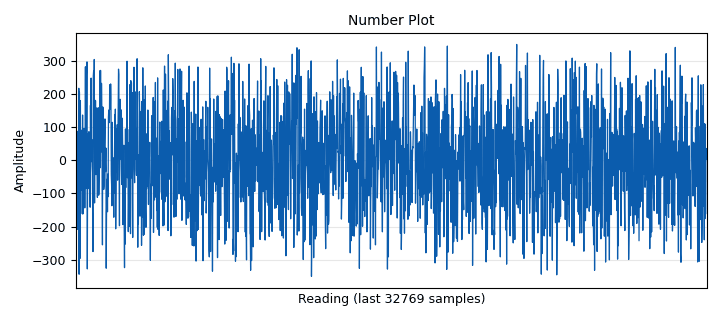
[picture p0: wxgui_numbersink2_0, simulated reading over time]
<?xml version='1.0' encoding='utf-8'?>
<flow_graph>
<block>
<key>options</key>
<param><key>id</key><value>top_block</value></param>
<param><key>generate_options</key><value>wx_gui</value></param>
<param><key>category</key><value>Custom</value></param>
</block>
<block>
<key>variable</key>
<param><key>id</key><value>samp_rate</value></param>
<param><key>value</key><value>32000</value></param>
</block>
<block>
<key>blocks_complex_to_arg</key>
<param><key>id</key><value>blocks_complex_to_arg_0</value></param>
</block>
<block>
<key>gr_fft_vxx</key>
<param><key>id</key><value>gr_fft_vxx_0</value></param>
<param><key>type</key><value>float</value></param>
<param><key>fft_size</key><value>1024</value></param>
<param><key>forward</key><value>True</value></param>
<param><key>window</key><value>window.blackmanharris(1024)</value></param>
<param><key>shift</key><value>True</value></param>
<param><key>nthreads</key><value>1</value></param>
</block>
<block>
<key>blocks_keep_one_in_n</key>
<param><key>id</key><value>blocks_keep_one_in_n_1</value></param>
<param><key>type</key><value>complex</value></param>
<param><key>n</key><value>fft_size</value></param>
</block>
<block>
<key>blocks_skiphead</key>
<param><key>id</key><value>blocks_skiphead_0_0</value></param>
<param><key>type</key><value>complex</value></param>
<param><key>num_items</key><value>fft_bin</value></param>
</block>
<block>
<key>blocks_vector_to_stream</key>
<param><key>id</key><value>blocks_vector_to_stream_0</value></param>
<param><key>type</key><value>complex</value></param>
<param><key>num_items</key><value>fft_size</value></param>
</block>
<block>
<key>gr_fft_vxx</key>
<param><key>id</key><value>gr_fft_vxx_0_0</value></param>
<param><key>type</key><value>float</value></param>
<param><key>fft_size</key><value>1024</value></param>
<param><key>forward</key><value>True</value></param>
<param><key>window</key><value>window.blackmanharris(1024)</value></param>
<param><key>shift</key><value>True</value></param>
<param><key>nthreads</key><value>1</value></param>
</block>
<block>
<key>blocks_skiphead</key>
<param><key>id</key><value>blocks_skiphead_0_0_0</value></param>
<param><key>type</key><value>complex</value></param>
<param><key>num_items</key><value>fft_bin</value></param>
</block>
<block>
<key>blocks_keep_one_in_n</key>
<param><key>id</key><value>blocks_keep_one_in_n_0</value></param>
<param><key>type</key><value>complex</value></param>
<param><key>n</key><value>fft_size</value></param>
</block>
<block>
<key>analog_sig_source_x</key>
<param><key>id</key><value>analog_sig_source_x_0</value></param>
<param><key>type</key><value>complex</value></param>
<param><key>samp_rate</key><value>samp_rate</value></param>
<param><key>waveform</key><value>analog.GR_COS_WAVE</value></param>
<param><key>freq</key><value>1000</value></param>
<param><key>amp</key><value>1</value></param>
<param><key>offset</key><value>0</value></param>
</block>
<block>
<key>blocks_sub_xx</key>
<param><key>id</key><value>blocks_sub_xx_0</value></param>
<param><key>type</key><value>float</value></param>
</block>
<block>
<key>blocks_multiply_const_vxx</key>
<param><key>id</key><value>blocks_multiply_const_vxx_0</value></param>
<param><key>type</key><value>float</value></param>
<param><key>const</key><value>180/3.141592</value></param>
</block>
<block>
<key>blocks_vector_to_stream</key>
<param><key>id</key><value>blocks_vector_to_stream_0_0</value></param>
<param><key>type</key><value>complex</value></param>
<param><key>num_items</key><value>fft_size</value></param>
</block>
<block>
<key>wxgui_fftsink2</key>
<param><key>id</key><value>wxgui_fftsink2_0</value></param>
<param><key>_enabled</key><value>False</value></param>
<param><key>type</key><value>complex</value></param>
<param><key>title</key><value>FFT Plot</value></param>
<param><key>samp_rate</key><value>samp_rate</value></param>
<param><key>baseband_freq</key><value>0</value></param>
<param><key>y_per_div</key><value>10</value></param>
<param><key>y_divs</key><value>10</value></param>
<param><key>ref_level</key><value>0</value></param>
<param><key>ref_scale</key><value>2.0</value></param>
<param><key>fft_size</key><value>1024</value></param>
<param><key>fft_rate</key><value>15</value></param>
<param><key>peak_hold</key><value>False</value></param>
<param><key>average</key><value>False</value></param>
<param><key>avg_alpha</key><value>0</value></param>
<param><key>win</key><value>None</value></param>
<param><key>freqvar</key><value>None</value></param>
</block>
<block>
<key>blocks_complex_to_arg</key>
<param><key>id</key><value>blocks_complex_to_arg_1</value></param>
</block>
<block>
<key>wxgui_numbersink2</key>
<param><key>id</key><value>wxgui_numbersink2_0</value></param>
<param><key>type</key><value>float</value></param>
<param><key>title</key><value>Number Plot</value></param>
<param><key>units</key><value>Units</value></param>
<param><key>samp_rate</key><value>32000/1024</value></param>
<param><key>min_value</key><value>-100</value></param>
<param><key>max_value</key><value>100</value></param>
<param><key>factor</key><value>1.0</value></param>
<param><key>decimal_places</key><value>10</value></param>
<param><key>ref_level</key><value>0</value></param>
<param><key>number_rate</key><value>15</value></param>
<param><key>peak_hold</key><value>False</value></param>
<param><key>average</key><value>False</value></param>
<param><key>avg_alpha</key><value>0</value></param>
<param><key>show_gauge</key><value>True</value></param>
</block>
<block>
<key>blocks_stream_to_vector</key>
<param><key>id</key><value>blocks_stream_to_vector_0_0</value></param>
<param><key>type</key><value>float</value></param>
<param><key>num_items</key><value>fft_size</value></param>
</block>
<block>
<key>blocks_stream_to_vector</key>
<param><key>id</key><value>blocks_stream_to_vector_0</value></param>
<param><key>type</key><value>float</value></param>
<param><key>num_items</key><value>fft_size</value></param>
</block>
<block>
<key>analog_noise_source_x</key>
<param><key>id</key><value>analog_noise_source_x_0</value></param>
<param><key>type</key><value>complex</value></param>
<param><key>noise_type</key><value>analog.GR_GAUSSIAN</value></param>
<param><key>amp</key><value>0.01</value></param>
<param><key>seed</key><value>0</value></param>
</block>
<block>
<key>blocks_complex_to_float</key>
<param><key>id</key><value>blocks_complex_to_float_0</value></param>
</block>
<block>
<key>blocks_throttle</key>
<param><key>id</key><value>blocks_throttle_0</value></param>
<param><key>type</key><value>complex</value></param>
<param><key>samples_per_second</key><value>samp_rate</value></param>
</block>
<block>
<key>blocks_add_xx</key>
<param><key>id</key><value>blocks_add_xx_0</value></param>
<param><key>type</key><value>complex</value></param>
</block>
<block>
<key>variable</key>
<param><key>id</key><value>fft_bin</value></param>
<param><key>value</key><value>40</value></param>
</block>
<block>
<key>variable</key>
<param><key>id</key><value>fft_size</value></param>
<param><key>value</key><value>1024</value></param>
</block>
<connection><source_block_id>analog_sig_source_x_0</source_block_id><sink_block_id>blocks_throttle_0</sink_block_id><source_key>0</source_key><sink_key>0</sink_key></connection>
<connection><source_block_id>blocks_keep_one_in_n_0</source_block_id><sink_block_id>blocks_complex_to_arg_0</sink_block_id><source_key>0</source_key><sink_key>0</sink_key></connection>
<connection><source_block_id>blocks_keep_one_in_n_1</source_block_id><sink_block_id>blocks_complex_to_arg_1</sink_block_id><source_key>0</source_key><sink_key>0</sink_key></connection>
<connection><source_block_id>blocks_complex_to_arg_0</source_block_id><sink_block_id>blocks_sub_xx_0</sink_block_id><source_key>0</source_key><sink_key>0</sink_key></connection>
<connection><source_block_id>blocks_complex_to_arg_1</source_block_id><sink_block_id>blocks_sub_xx_0</sink_block_id><source_key>0</source_key><sink_key>1</sink_key></connection>
<connection><source_block_id>blocks_stream_to_vector_0</source_block_id><sink_block_id>gr_fft_vxx_0_0</sink_block_id><source_key>0</source_key><sink_key>0</sink_key></connection>
<connection><source_block_id>blocks_stream_to_vector_0_0</source_block_id><sink_block_id>gr_fft_vxx_0</sink_block_id><source_key>0</source_key><sink_key>0</sink_key></connection>
<connection><source_block_id>gr_fft_vxx_0</source_block_id><sink_block_id>blocks_vector_to_stream_0</sink_block_id><source_key>0</source_key><sink_key>0</sink_key></connection>
<connection><source_block_id>blocks_skiphead_0_0</source_block_id><sink_block_id>blocks_keep_one_in_n_1</sink_block_id><source_key>0</source_key><sink_key>0</sink_key></connection>
<connection><source_block_id>blocks_vector_to_stream_0</source_block_id><sink_block_id>blocks_skiphead_0_0</sink_block_id><source_key>0</source_key><sink_key>0</sink_key></connection>
<connection><source_block_id>blocks_vector_to_stream_0_0</source_block_id><sink_block_id>blocks_skiphead_0_0_0</sink_block_id><source_key>0</source_key><sink_key>0</sink_key></connection>
<connection><source_block_id>gr_fft_vxx_0_0</source_block_id><sink_block_id>blocks_vector_to_stream_0_0</sink_block_id><source_key>0</source_key><sink_key>0</sink_key></connection>
<connection><source_block_id>blocks_skiphead_0_0_0</source_block_id><sink_block_id>blocks_keep_one_in_n_0</sink_block_id><source_key>0</source_key><sink_key>0</sink_key></connection>
<connection><source_block_id>blocks_sub_xx_0</source_block_id><sink_block_id>blocks_multiply_const_vxx_0</sink_block_id><source_key>0</source_key><sink_key>0</sink_key></connection>
<connection><source_block_id>blocks_multiply_const_vxx_0</source_block_id><sink_block_id>wxgui_numbersink2_0</sink_block_id><source_key>0</source_key><sink_key>0</sink_key></connection>
<connection><source_block_id>blocks_complex_to_float_0</source_block_id><sink_block_id>blocks_stream_to_vector_0_0</sink_block_id><source_key>0</source_key><sink_key>0</sink_key></connection>
<connection><source_block_id>blocks_complex_to_float_0</source_block_id><sink_block_id>blocks_stream_to_vector_0</sink_block_id><source_key>1</source_key><sink_key>0</sink_key></connection>
<connection><source_block_id>analog_noise_source_x_0</source_block_id><sink_block_id>blocks_add_xx_0</sink_block_id><source_key>0</source_key><sink_key>1</sink_key></connection>
<connection><source_block_id>blocks_add_xx_0</source_block_id><sink_block_id>blocks_complex_to_float_0</sink_block_id><source_key>0</source_key><sink_key>0</sink_key></connection>
<connection><source_block_id>blocks_throttle_0</source_block_id><sink_block_id>blocks_add_xx_0</sink_block_id><source_key>0</source_key><sink_key>0</sink_key></connection>
</flow_graph>
